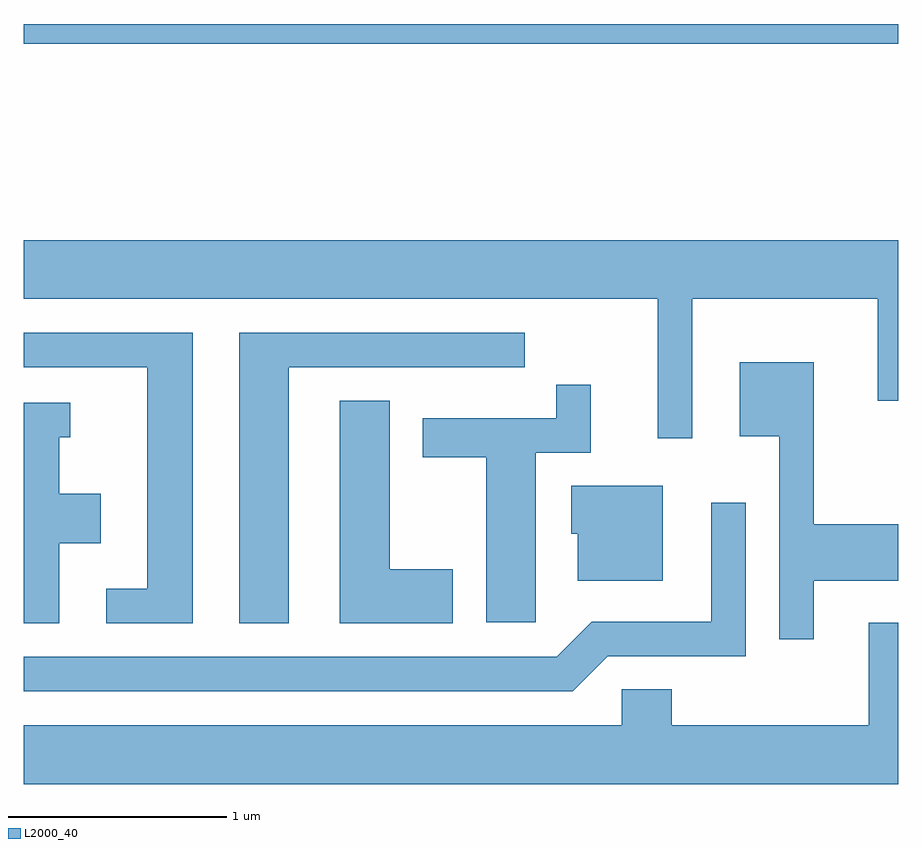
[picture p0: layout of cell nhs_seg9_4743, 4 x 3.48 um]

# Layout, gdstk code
import gdstk
lib = gdstk.Library(unit=1e-6, precision=1e-09)
def R(c, l, rs):  # rectangles x0, y0, x1, y1
    for r in rs: c.add(gdstk.rectangle(r[:2], r[2:], *l))
def P(c, l, *ps):  # polygons
    for p in ps: c.add(gdstk.Polygon(p, *l))
L2000_40 = (2000, 40)

nhs_seg9_4743 = lib.new_cell('nhs_seg9_4743')
R(nhs_seg9_4743, L2000_40, [(325.611,1966.341,329.611,1966.432)])
P(nhs_seg9_4743, L2000_40, [(328.669,1965.176),(329.516,1965.176),(329.516,1964.708),(329.611,1964.708),(329.611,1965.444),(325.611,1965.444),(325.611,1965.176),(328.511,1965.176),(328.511,1964.538),(328.669,1964.538)],
  [(326.384,1965.019),(325.611,1965.019),(325.611,1964.861),(326.176,1964.861),(326.176,1963.849),(325.988,1963.849),(325.988,1963.691),(326.384,1963.691)],
  [(326.824,1964.861),(327.903,1964.861),(327.903,1965.019),(326.596,1965.019),(326.596,1963.691),(326.824,1963.691)],
  [(329.224,1963.886),(329.611,1963.886),(329.611,1964.144),(329.224,1964.144),(329.224,1964.884),(328.886,1964.884),(328.886,1964.546),(329.066,1964.546),(329.066,1963.618),(329.224,1963.618)],
  [(327.954,1964.471),(328.204,1964.471),(328.204,1964.783),(328.046,1964.783),(328.046,1964.629),(327.436,1964.629),(327.436,1964.451),(327.726,1964.451),(327.726,1963.696),(327.954,1963.696)],
  [(327.574,1963.939),(327.284,1963.939),(327.284,1964.709),(327.056,1964.709),(327.056,1963.691),(327.574,1963.691)],
  [(325.774,1964.056),(325.964,1964.056),(325.964,1964.284),(325.774,1964.284),(325.774,1964.541),(325.823,1964.541),(325.823,1964.699),(325.611,1964.699),(325.611,1963.691),(325.774,1963.691)],
  [(328.534,1964.319),(328.116,1964.319),(328.116,1964.101),(328.146,1964.101),(328.146,1963.886),(328.534,1963.886)],
  [(328.282,1963.541),(328.914,1963.541),(328.914,1964.243),(328.756,1964.243),(328.756,1963.699),(328.209,1963.699),(328.049,1963.539),(325.611,1963.539),(325.611,1963.381),(328.122,1963.381)],
  [(329.611,1963.694),(329.476,1963.694),(329.476,1963.224),(328.574,1963.224),(328.574,1963.389),(328.346,1963.389),(328.346,1963.224),(325.611,1963.224),(325.611,1962.956),(329.611,1962.956)])

lib.write_gds('nhs_seg9_4743.gds')
